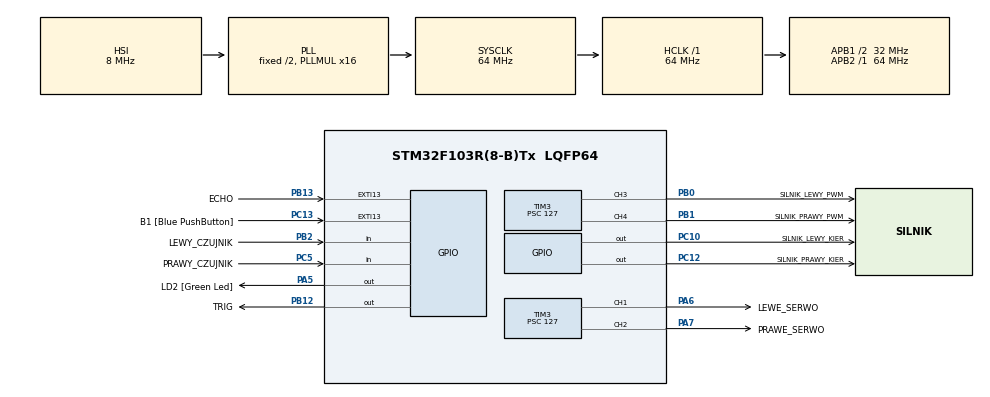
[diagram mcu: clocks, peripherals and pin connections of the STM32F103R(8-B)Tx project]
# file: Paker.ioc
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Mcu.Family=STM32F1
Mcu.Name=STM32F103R(8-B)Tx
Mcu.Package=LQFP64
NVIC.EXTI15_10_IRQn=true\:0\:0\:false\:false\:true
NVIC.PriorityGroup=NVIC_PRIORITYGROUP_4
NVIC.TIM4_IRQn=true\:0\:0\:false\:false\:true
PA13.GPIO_Label=TMS
PA13.Mode=Serial_Wire
PA13.Signal=SYS_JTMS-SWDIO
PA14.GPIO_Label=TCK
PA14.Mode=Serial_Wire
PA14.Signal=SYS_JTCK-SWCLK
PA2.GPIO_Label=USART_TX
PA2.GPIO_Mode=GPIO_MODE_AF_PP
PA2.GPIO_PuPd=GPIO_NOPULL
PA2.GPIO_Speed=GPIO_SPEED_FREQ_LOW
PA2.Signal=USART2_TX
PA3.GPIO_Label=USART_RX
PA3.GPIO_Mode=GPIO_MODE_AF_PP
PA3.GPIO_PuPd=GPIO_NOPULL
PA3.GPIO_Speed=GPIO_SPEED_FREQ_LOW
PA3.Signal=USART2_RX
PA5.GPIO_Label=LD2 [Green Led]
PA5.GPIO_ModeDefaultOutputPP=GPIO_MODE_OUTPUT_PP
PA5.GPIO_PuPd=GPIO_NOPULL
PA5.GPIO_Speed=GPIO_SPEED_FREQ_LOW
PA5.Signal=GPIO_Output
PB0.GPIO_Label=SILNIK_LEWY_PWM
PB0.Signal=S_TIM3_CH3
PB1.GPIO_Label=SILNIK_PRAWY_PWM
PB1.Signal=S_TIM3_CH4
PB12.GPIO_Label=TRIG
PB12.Signal=GPIO_Output
PB13.GPIO_Label=ECHO
PB13.GPIO_ModeDefaultEXTI=GPIO_MODE_IT_RISING_FALLING
PB13.Signal=GPXTI13
PB2.GPIO_Label=LEWY_CZUJNIK
PB2.GPIO_PuPd=GPIO_PULLDOWN
PB2.Signal=GPIO_Input
PA6.GPIO_Label=LEWE_SERWO
PA6.Signal=S_TIM3_CH1
PA7.GPIO_Label=PRAWE_SERWO
PA7.Signal=S_TIM3_CH2
PB3.GPIO_Label=SWO
PB3.Signal=SYS_JTDO-TRACESWO
PC10.GPIO_Label=SILNIK_LEWY_KIER
PC10.PinState=GPIO_PIN_SET
PC10.Signal=GPIO_Output
PC12.GPIO_Label=SILNIK_PRAWY_KIER
PC12.PinState=GPIO_PIN_SET
PC12.Signal=GPIO_Output
PC13-TAMPER-RTC.GPIO_Label=B1 [Blue PushButton]
PC13-TAMPER-RTC.GPIO_ModeDefaultEXTI=GPIO_MODE_IT_RISING
PC13-TAMPER-RTC.GPIO_PuPd=GPIO_NOPULL
PC13-TAMPER-RTC.Signal=GPXTI13
PC14-OSC32_IN.Signal=RCC_OSC32_IN
PC15-OSC32_OUT.Signal=RCC_OSC32_OUT
PC5.GPIO_Label=PRAWY_CZUJNIK
PC5.GPIO_PuPd=GPIO_PULLDOWN
PC5.Signal=GPIO_Input
PD0-OSC_IN.Signal=RCC_OSC_IN
PD1-OSC_OUT.Signal=RCC_OSC_OUT
ProjectManager.HeapSize=0x200
ProjectManager.StackSize=0x400
ProjectManager.TargetToolchain=SW4STM32
RCC.AHBFreq_Value=64000000
RCC.APB1CLKDivider=RCC_HCLK_DIV2
RCC.APB1Freq_Value=32000000
RCC.APB1TimFreq_Value=64000000
RCC.APB2Freq_Value=64000000
RCC.APB2TimFreq_Value=64000000
RCC.HCLKFreq_Value=64000000
RCC.PLLMUL=RCC_PLL_MUL16
RCC.SYSCLKFreq_VALUE=64000000
RCC.SYSCLKSource=RCC_SYSCLKSOURCE_PLLCLK
RCC.USBFreq_Value=64000000
SH.S_TIM3_CH3.0=TIM3_CH3,PWM Generation3 CH3
SH.S_TIM3_CH4.0=TIM3_CH4,PWM Generation4 CH4
TIM3.Channel-PWM\ Generation3\ CH3=TIM_CHANNEL_3
TIM3.Channel-PWM\ Generation4\ CH4=TIM_CHANNEL_4
TIM3.Period=9999
TIM3.Prescaler=127
TIM4.Period=0xFFFF
SH.S_TIM3_CH1.0=TIM3_CH1,PWM Generation1 CH1
SH.S_TIM3_CH2.0=TIM3_CH2,PWM Generation2 CH2
TIM3.Channel-PWM\ Generation2\ CH2=TIM_CHANNEL_2
TIM3.Period=9999
TIM3.Prescaler=127
TIM3.Pulse-PWM\ Generation1\ CH1=450
TIM3.Pulse-PWM\ Generation2\ CH2=450
VP_TIM4_VS_ClockSourceINT.Mode=Internal
VP_TIM3_VS_ClockSourceINT.Mode=Internal
board=NUCLEO-F103RB

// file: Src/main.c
/**
  ******************************************************************************
  * File Name          : main.c
  * Description        : Main program body
  ******************************************************************************
  *
  * COPYRIGHT(c) 2017 STMicroelectronics
  *
  * Redistribution and use in source and binary forms, with or without modification,
  * are permitted provided that the following conditions are met:
  *   1. Redistributions of source code must retain the above copyright notice,
  *      this list of conditions and the following disclaimer.
  *   2. Redistributions in binary form must reproduce the above copyright notice,
  *      this list of conditions and the following disclaimer in the documentation
  *      and/or other materials provided with the distribution.
  *   3. Neither the name of STMicroelectronics nor the names of its contributors
  *      may be used to endorse or promote products derived from this software
  *      without specific prior written permission.
  *
  * THIS SOFTWARE IS PROVIDED BY THE COPYRIGHT HOLDERS AND CONTRIBUTORS "AS IS"
  * AND ANY EXPRESS OR IMPLIED WARRANTIES, INCLUDING, BUT NOT LIMITED TO, THE
  * IMPLIED WARRANTIES OF MERCHANTABILITY AND FITNESS FOR A PARTICULAR PURPOSE ARE
  * DISCLAIMED. IN NO EVENT SHALL THE COPYRIGHT HOLDER OR CONTRIBUTORS BE LIABLE
  * FOR ANY DIRECT, INDIRECT, INCIDENTAL, SPECIAL, EXEMPLARY, OR CONSEQUENTIAL
  * DAMAGES (INCLUDING, BUT NOT LIMITED TO, PROCUREMENT OF SUBSTITUTE GOODS OR
  * SERVICES; LOSS OF USE, DATA, OR PROFITS; OR BUSINESS INTERRUPTION) HOWEVER
  * CAUSED AND ON ANY THEORY OF LIABILITY, WHETHER IN CONTRACT, STRICT LIABILITY,
  * OR TORT (INCLUDING NEGLIGENCE OR OTHERWISE) ARISING IN ANY WAY OUT OF THE USE
  * OF THIS SOFTWARE, EVEN IF ADVISED OF THE POSSIBILITY OF SUCH DAMAGE.
  *
  ******************************************************************************
  */
#include "main.h"
#include "stm32f1xx_hal.h"

/* USER CODE BEGIN Includes */
#include "Silnik.h"
#include "Robot.h"

#include "Analogowy_Czujnik_Odleglosci.h"
#include "Cyfrowy_Czujnik_Odleglosci.h"
#include "Serwo.h"

/* USER CODE END Includes */

TIM_HandleTypeDef htim4;
TIM_HandleTypeDef htim3;

/* USER CODE BEGIN PV */
/* Private variables ---------------------------------------------------------*/
Silnik silnik_lewy, silnik_prawy;

Robot minisumo;

/* USER CODE END PV */

void SystemClock_Config(void);
void Error_Handler(void);
static void MX_GPIO_Init(void);
static void MX_TIM4_Init(void);
static void MX_TIM3_Init(void);
void HAL_TIM_MspPostInit(TIM_HandleTypeDef *htim);

/* USER CODE BEGIN PFP */
/* Private function prototypes -----------------------------------------------*/
void uruchomienie_PWM_silnikow(void);
void aktualizacja_silnika_lewego(void);
void aktualizacja_silnika_prawego(void);

void HAL_SYSTICK_Callback(void); //obsluga przerwania timera systick
void HAL_TIM_PeriodElapsedCallback(TIM_HandleTypeDef *htim); //obsluga przerwania timera htim
void HAL_GPIO_EXTI_Callback(uint16_t GPIO_Pin);//obsluga przerwan przychodzacych z zewnatrz do pinow

void pierwsza_faza_pomiaru_Analogowy_Czujnik_Odleglosci(void);
void druga_faza_pomiaru_Analogowy_Czujnik_Odleglosci(void);
void trzecia_faza_pomiaru_Analogowy_Czujnik_Odleglosci(void);
void zapis_wyniku_pomiaru_Analogowy_Czujnik_Odleglosci(void);

void pomiar_odleglosci_cyfrowy(void);

void aktualizacja_polozenia_serwomechanizmow(void);

void inicjalizacja_urzadzen_obslugiwanych(void);
void uruchom_PWM_serwomechanizmow(void);

/* USER CODE END PFP */

/* USER CODE BEGIN 0 */
//extern typedef enum{nie, tak} Bool;
/* USER CODE END 0 */

int main(void)
{

  /* MCU Configuration----------------------------------------------------------*/

  /* Reset of all peripherals, Initializes the Flash interface and the Systick. */
  HAL_Init();

  /* Configure the system clock */
  SystemClock_Config();

  /* Initialize all configured peripherals */
  MX_GPIO_Init();
  MX_TIM4_Init();
  MX_TIM3_Init();

  /* USER CODE BEGIN 2 */
  inicjalizacja_urzadzen_obslugiwanych();

  //kod testowy
  int wartosc_kata = 0;

  /**
   * inicjalizacja silników
   */
/*  Silnik_init(&silnik_lewy);
  Silnik_init(&silnik_prawy);
  uruchomienie_PWM_silnikow();
*/

  /* USER CODE END 2 */

  /* Infinite loop */
  while (1)
  {

  /* USER CODE BEGIN 3 */
	  Silnik_setKierunek(&silnik_lewy, PRZOD);
	  Silnik_setKierunek(&silnik_prawy, PRZOD);
	  Silnik_setMoc(&silnik_lewy, MAX_CCR_SILNIK>>2);
	  Silnik_setMoc(&silnik_prawy, MAX_CCR_SILNIK>>2);
	  HAL_Delay(2000);
	  Silnik_setMoc(&silnik_lewy, 0);
	  Silnik_setMoc(&silnik_prawy, 0);
	  HAL_Delay(500);

	  Silnik_setKierunek(&silnik_lewy, TYL);
	  Silnik_setKierunek(&silnik_prawy, TYL);
	  Silnik_setMoc(&silnik_lewy, MAX_CCR_SILNIK>>2);
	  Silnik_setMoc(&silnik_prawy, MAX_CCR_SILNIK>>2);
	  HAL_Delay(2000);
	  Silnik_setMoc(&silnik_lewy, 0);
	  Silnik_setMoc(&silnik_prawy, 0);
	  HAL_Delay(500);

	  /*		//do przodu i ca³a moc
	  	Silnik_setKierunek(&silnik_lewy, PRZOD);
	  	Silnik_setKierunek(&silnik_prawy, PRZOD);
	    Silnik_setMoc(&silnik_lewy, MAX_CCR_SILNIK);
		Silnik_setMoc(&silnik_prawy, MAX_CCR_SILNIK);
		HAL_Delay(1000);

		//do przodu mocy
		Silnik_setMoc(&silnik_lewy, MAX_CCR_SILNIK>>1 );
		Silnik_setMoc(&silnik_prawy, MAX_CCR_SILNIK>>1 );
		HAL_Delay(1000);

		//do ty³u i po³owa mocy
	  	Silnik_setKierunek(&silnik_lewy, TYL);
	  	Silnik_setKierunek(&silnik_prawy, TYL);
	  	HAL_Delay(1000);

	  	//do ty³u i ca³a moc
	    Silnik_setMoc(&silnik_lewy, MAX_CCR_SILNIK);
		Silnik_setMoc(&silnik_prawy, MAX_CCR_SILNIK);
		HAL_Delay(1000);

	  Silnik_setKierunek(&silnik_lewy, TYL);
	  Silnik_setKierunek(&silnik_prawy, TYL);

	  int i;
	  for(i=0;i<MAX_CCR_SILNIK; i+=100)
	  {
		  Silnik_setMoc(&silnik_lewy, i);
		  Silnik_setMoc(&silnik_prawy, i);
		  HAL_Delay(50);
	  }
	  Silnik_setKierunek(&silnik_lewy, PRZOD);
	  Silnik_setKierunek(&silnik_prawy, PRZOD);

	  for(i=MAX_CCR_SILNIK; i>=200; i-=100)
	  {
	  		  Silnik_setMoc(&silnik_lewy, i);
	  		  Silnik_setMoc(&silnik_prawy, i);
	  		  HAL_Delay(50);
	  }
	  //kod testowy
	 wartosc_kata = 180;
	 Serwo_ustaw_nowy_kat(&(minisumo.serwo_lewe_), wartosc_kata);
	 Serwo_ustaw_nowy_kat(&(minisumo.serwo_prawe_), wartosc_kata);
	 HAL_Delay(1500);
	 wartosc_kata = 0;
	 Serwo_ustaw_nowy_kat(&(minisumo.serwo_lewe_), wartosc_kata);
	 Serwo_ustaw_nowy_kat(&(minisumo.serwo_prawe_), wartosc_kata);
	 HAL_Delay(1500);

	  HAL_GPIO_WritePin(LD2_GPIO_Port, LD2_Pin, GPIO_PIN_SET);
	  HAL_Delay(5000);
	  HAL_GPIO_WritePin(LD2_GPIO_Port, LD2_Pin, GPIO_PIN_RESET);
	  HAL_Delay(5000);
*/	  //koniec kodu testowego
  }
  /* USER CODE END 3 */

}

/** System Clock Configuration
*/
void SystemClock_Config(void)
{

  RCC_OscInitTypeDef RCC_OscInitStruct;
  RCC_ClkInitTypeDef RCC_ClkInitStruct;

    /**Initializes the CPU, AHB and APB busses clocks
    */
  RCC_OscInitStruct.OscillatorType = RCC_OSCILLATORTYPE_HSI;
  RCC_OscInitStruct.HSIState = RCC_HSI_ON;
  RCC_OscInitStruct.HSICalibrationValue = 16;
  RCC_OscInitStruct.PLL.PLLState = RCC_PLL_ON;
  RCC_OscInitStruct.PLL.PLLSource = RCC_PLLSOURCE_HSI_DIV2;
  RCC_OscInitStruct.PLL.PLLMUL = RCC_PLL_MUL16;
  if (HAL_RCC_OscConfig(&RCC_OscInitStruct) != HAL_OK)
  {
    Error_Handler();
  }

    /**Initializes the CPU, AHB and APB busses clocks
    */
  RCC_ClkInitStruct.ClockType = RCC_CLOCKTYPE_HCLK|RCC_CLOCKTYPE_SYSCLK
                              |RCC_CLOCKTYPE_PCLK1|RCC_CLOCKTYPE_PCLK2;
  RCC_ClkInitStruct.SYSCLKSource = RCC_SYSCLKSOURCE_PLLCLK;
  RCC_ClkInitStruct.AHBCLKDivider = RCC_SYSCLK_DIV1;
  RCC_ClkInitStruct.APB1CLKDivider = RCC_HCLK_DIV2;
  RCC_ClkInitStruct.APB2CLKDivider = RCC_HCLK_DIV1;

  if (HAL_RCC_ClockConfig(&RCC_ClkInitStruct, FLASH_LATENCY_2) != HAL_OK)
  {
    Error_Handler();
  }

    /**Configure the Systick interrupt time
    */
  HAL_SYSTICK_Config(HAL_RCC_GetHCLKFreq()/1000);

    /**Configure the Systick
    */
  HAL_SYSTICK_CLKSourceConfig(SYSTICK_CLKSOURCE_HCLK);

  /* SysTick_IRQn interrupt configuration */
  HAL_NVIC_SetPriority(SysTick_IRQn, 0, 0);
}
/* TIM4 init function */
static void MX_TIM4_Init(void)
{

  TIM_ClockConfigTypeDef sClockSourceConfig;
  TIM_MasterConfigTypeDef sMasterConfig;

  htim4.Instance = TIM4;
  htim4.Init.Prescaler = 0;
  htim4.Init.CounterMode = TIM_COUNTERMODE_UP;
  htim4.Init.Period = 0xFFFF;
  htim4.Init.ClockDivision = TIM_CLOCKDIVISION_DIV1;
  if (HAL_TIM_Base_Init(&htim4) != HAL_OK)
  {
    Error_Handler();
  }

  sClockSourceConfig.ClockSource = TIM_CLOCKSOURCE_INTERNAL;
  if (HAL_TIM_ConfigClockSource(&htim4, &sClockSourceConfig) != HAL_OK)
  {
    Error_Handler();
  }

  sMasterConfig.MasterOutputTrigger = TIM_TRGO_RESET;
  sMasterConfig.MasterSlaveMode = TIM_MASTERSLAVEMODE_DISABLE;
  if (HAL_TIMEx_MasterConfigSynchronization(&htim4, &sMasterConfig) != HAL_OK)
  {
    Error_Handler();
  }

}
/* TIM3 init function */
/*static void MX_TIM3_Init(void)
{

  TIM_MasterConfigTypeDef sMasterConfig;
  TIM_OC_InitTypeDef sConfigOC;

  htim3.Instance = TIM3;
  htim3.Init.Prescaler = 127;
  htim3.Init.CounterMode = TIM_COUNTERMODE_UP;
  htim3.Init.Period = 9999;
  htim3.Init.ClockDivision = TIM_CLOCKDIVISION_DIV1;
  if (HAL_TIM_PWM_Init(&htim3) != HAL_OK)
  {
    Error_Handler();
  }
*/
/*  sMasterConfig.MasterOutputTrigger = TIM_TRGO_RESET;
  sMasterConfig.MasterSlaveMode = TIM_MASTERSLAVEMODE_DISABLE;
  if (HAL_TIMEx_MasterConfigSynchronization(&htim3, &sMasterConfig) != HAL_OK)
  {
    Error_Handler();
  }

  sConfigOC.OCMode = TIM_OCMODE_PWM1;
  sConfigOC.Pulse = 0;
  sConfigOC.OCPolarity = TIM_OCPOLARITY_HIGH;
  sConfigOC.OCFastMode = TIM_OCFAST_DISABLE;
  if (HAL_TIM_PWM_ConfigChannel(&htim3, &sConfigOC, TIM_CHANNEL_3) != HAL_OK)
  {
    Error_Handler();
  }

  if (HAL_TIM_PWM_ConfigChannel(&htim3, &sConfigOC, TIM_CHANNEL_4) != HAL_OK)
*/

/* TIM3 init function */
static void MX_TIM3_Init(void)
{

  TIM_ClockConfigTypeDef sClockSourceConfig;
  TIM_MasterConfigTypeDef sMasterConfig;
  TIM_OC_InitTypeDef sConfigOC;

  htim3.Instance = TIM3;
  htim3.Init.Prescaler = 127;
  htim3.Init.CounterMode = TIM_COUNTERMODE_UP;
  htim3.Init.Period = 9999;
  htim3.Init.ClockDivision = TIM_CLOCKDIVISION_DIV1;
  if (HAL_TIM_Base_Init(&htim3) != HAL_OK)
  {
    Error_Handler();
  }

  sClockSourceConfig.ClockSource = TIM_CLOCKSOURCE_INTERNAL;
  if (HAL_TIM_ConfigClockSource(&htim3, &sClockSourceConfig) != HAL_OK)
  {
    Error_Handler();
  }

  if (HAL_TIM_PWM_Init(&htim3) != HAL_OK)
  {
    Error_Handler();
  }

  sMasterConfig.MasterOutputTrigger = TIM_TRGO_RESET;
  sMasterConfig.MasterSlaveMode = TIM_MASTERSLAVEMODE_DISABLE;
  if (HAL_TIMEx_MasterConfigSynchronization(&htim3, &sMasterConfig) != HAL_OK)
  {
    Error_Handler();
  }

  sConfigOC.OCMode = TIM_OCMODE_PWM1;
  sConfigOC.Pulse = 450;
  sConfigOC.OCPolarity = TIM_OCPOLARITY_HIGH;
  sConfigOC.OCFastMode = TIM_OCFAST_DISABLE;
  if (HAL_TIM_PWM_ConfigChannel(&htim3, &sConfigOC, TIM_CHANNEL_1) != HAL_OK)
  {
    Error_Handler();
  }

  if (HAL_TIM_PWM_ConfigChannel(&htim3, &sConfigOC, TIM_CHANNEL_2) != HAL_OK)
  {
    Error_Handler();
  }

    sConfigOC.OCMode = TIM_OCMODE_PWM1;
    sConfigOC.Pulse = 0;
    sConfigOC.OCPolarity = TIM_OCPOLARITY_HIGH;
    sConfigOC.OCFastMode = TIM_OCFAST_DISABLE;
    if (HAL_TIM_PWM_ConfigChannel(&htim3, &sConfigOC, TIM_CHANNEL_3) != HAL_OK)
    {
      Error_Handler();
    }

    if (HAL_TIM_PWM_ConfigChannel(&htim3, &sConfigOC, TIM_CHANNEL_4) != HAL_OK)
    {
       Error_Handler();
    }

  HAL_TIM_MspPostInit(&htim3);

}

/** Configure pins as
        * Analog
        * Input
        * Output
        * EVENT_OUT
        * EXTI
     PA2   ------> USART2_TX
     PA3   ------> USART2_RX
*/
static void MX_GPIO_Init(void)
{

  GPIO_InitTypeDef GPIO_InitStruct;

  /* GPIO Ports Clock Enable */
  __HAL_RCC_GPIOC_CLK_ENABLE();
  __HAL_RCC_GPIOD_CLK_ENABLE();
  __HAL_RCC_GPIOA_CLK_ENABLE();
  __HAL_RCC_GPIOB_CLK_ENABLE();

  /*Configure GPIO pin : B1_Pin */
  GPIO_InitStruct.Pin = B1_Pin;
  GPIO_InitStruct.Mode = GPIO_MODE_IT_RISING;
  GPIO_InitStruct.Pull = GPIO_NOPULL;
  HAL_GPIO_Init(B1_GPIO_Port, &GPIO_InitStruct);

  /*Configure GPIO pins : USART_TX_Pin USART_RX_Pin */
  GPIO_InitStruct.Pin = USART_TX_Pin|USART_RX_Pin;
  GPIO_InitStruct.Mode = GPIO_MODE_AF_PP;
  GPIO_InitStruct.Speed = GPIO_SPEED_FREQ_LOW;
  HAL_GPIO_Init(GPIOA, &GPIO_InitStruct);

  /*Configure GPIO pin : LD2_Pin */
  GPIO_InitStruct.Pin = LD2_Pin;
  GPIO_InitStruct.Mode = GPIO_MODE_OUTPUT_PP;
  GPIO_InitStruct.Speed = GPIO_SPEED_FREQ_LOW;
  HAL_GPIO_Init(LD2_GPIO_Port, &GPIO_InitStruct);

  /*Configure GPIO pins : SILNIK_LEWY_KIER_Pin SILNIK_PRAWY_KIER_Pin */
  GPIO_InitStruct.Pin = SILNIK_LEWY_KIER_Pin|SILNIK_PRAWY_KIER_Pin;
  GPIO_InitStruct.Mode = GPIO_MODE_OUTPUT_PP;
  GPIO_InitStruct.Speed = GPIO_SPEED_FREQ_LOW;
  HAL_GPIO_Init(GPIOC, &GPIO_InitStruct);

  /*Configure GPIO pin : TRIG_Pin */
  GPIO_InitStruct.Pin = TRIG_Pin;
  GPIO_InitStruct.Mode = GPIO_MODE_OUTPUT_PP;
  GPIO_InitStruct.Speed = GPIO_SPEED_FREQ_LOW;
  HAL_GPIO_Init(TRIG_GPIO_Port, &GPIO_InitStruct);

  /*Configure GPIO pin : ECHO_Pin */
  GPIO_InitStruct.Pin = ECHO_Pin;
  GPIO_InitStruct.Mode = GPIO_MODE_IT_RISING_FALLING;
  GPIO_InitStruct.Pull = GPIO_NOPULL;
  HAL_GPIO_Init(ECHO_GPIO_Port, &GPIO_InitStruct);
  /*Configure GPIO pin : PRAWY_CZUJNIK_Pin */
  GPIO_InitStruct.Pin = PRAWY_CZUJNIK_Pin;
  GPIO_InitStruct.Mode = GPIO_MODE_INPUT;
  GPIO_InitStruct.Pull = GPIO_PULLDOWN;
  HAL_GPIO_Init(PRAWY_CZUJNIK_GPIO_Port, &GPIO_InitStruct);

  /*Configure GPIO pin : LEWY_CZUJNIK_Pin */
  GPIO_InitStruct.Pin = LEWY_CZUJNIK_Pin;
  GPIO_InitStruct.Mode = GPIO_MODE_INPUT;
  GPIO_InitStruct.Pull = GPIO_PULLDOWN;
  HAL_GPIO_Init(LEWY_CZUJNIK_GPIO_Port, &GPIO_InitStruct);

  /*Configure GPIO pin Output Level */
  HAL_GPIO_WritePin(LD2_GPIO_Port, LD2_Pin, GPIO_PIN_RESET);

  /*Configure GPIO pin Output Level */
  HAL_GPIO_WritePin(GPIOC, SILNIK_LEWY_KIER_Pin|SILNIK_PRAWY_KIER_Pin, GPIO_PIN_SET);

  HAL_GPIO_WritePin(TRIG_GPIO_Port, TRIG_Pin, GPIO_PIN_RESET);

  /* EXTI interrupt init*/
  HAL_NVIC_SetPriority(EXTI15_10_IRQn, 0, 0);
  HAL_NVIC_EnableIRQ(EXTI15_10_IRQn);

}

/* USER CODE BEGIN 4 */
/*
void HAL_SYSTICK_Callback(void)
{
	static int iterator_silnika = 0;
	iterator_silnika++;
	if(iterator_silnika >= OKRES_AKTUALIZACJI_SILNIKA)
	{
		iterator_silnika = 0;
		aktualizacja_silnika_lewego();
		aktualizacja_silnika_prawego();
	}

}

void aktualizacja_silnika_lewego(void)
{
	uint16_t moc = Silnik_getMoc(&silnik_lewy);
	htim3.Instance->CCR3 = moc;

	Kierunek kier = Silnik_getKierunek(&silnik_lewy);
	if(kier == PRZOD)
	{
		HAL_GPIO_WritePin(SILNIK_LEWY_KIER_GPIO_Port, SILNIK_LEWY_KIER_Pin, GPIO_PIN_SET);
	}
	else
	{
		HAL_GPIO_WritePin(SILNIK_LEWY_KIER_GPIO_Port, SILNIK_LEWY_KIER_Pin, GPIO_PIN_RESET);
	}
}
void aktualizacja_silnika_prawego(void)
{
	uint16_t moc = Silnik_getMoc(&silnik_prawy);
	htim3.Instance->CCR4 = moc;

	Kierunek kier = Silnik_getKierunek(&silnik_prawy);
	if(kier == PRZOD)
	{
		HAL_GPIO_WritePin(SILNIK_PRAWY_KIER_GPIO_Port, SILNIK_PRAWY_KIER_Pin, GPIO_PIN_SET);
	}
	else
	{
		HAL_GPIO_WritePin(SILNIK_PRAWY_KIER_GPIO_Port, SILNIK_PRAWY_KIER_Pin, GPIO_PIN_RESET);
	}

}
void uruchomienie_PWM_silnikow(void)
{
	HAL_TIM_PWM_Start(&htim3, TIM_CHANNEL_3);
	HAL_TIM_PWM_Start(&htim3, TIM_CHANNEL_4);
}
*/
//definicje fcji
void HAL_SYSTICK_Callback(void)
{
	/**
	 * Aktualizacja silnika
	 */
	static int iterator_silnika = 0;
	iterator_silnika++;
	if(iterator_silnika >= OKRES_AKTUALIZACJI_SILNIKA)
	{
		iterator_silnika = 0;
		aktualizacja_silnika_lewego();
		aktualizacja_silnika_prawego();
	}
	/**
	 * Aktualizacja poriamu odleg³osci cyfrowego
	 */
	//moze zajsc koniecznosc mierzenia z mniejsza czestoscia, by nie blokowac dzialania STMa
	pomiar_odleglosci_cyfrowy();
	/**
	 * Aktualizacja pomiaru odleg³osci  analogowego
	 */
	static int iterator_pomiaru_odleglosci=0;
	if(iterator_pomiaru_odleglosci == OKRES_POMIARU_ODLEGLOSCI)
	{
		pierwsza_faza_pomiaru_Analogowy_Czujnik_Odleglosci();
		iterator_pomiaru_odleglosci = 0;
	}
	++iterator_pomiaru_odleglosci;

	/**
	 * Aktualizacja serwomechanizmu
	 */
	static int iterator_serwomechanizmu = 0;
	++iterator_serwomechanizmu;
	if(iterator_serwomechanizmu == OKRES_AKTUALIZACJI_SERWOMECHANIZMOW)
	{
		aktualizacja_polozenia_serwomechanizmow();
		iterator_serwomechanizmu = 0;
	}

}
void HAL_TIM_PeriodElapsedCallback(TIM_HandleTypeDef *htim)
{
	if(htim->Instance == TIM4)
	{
		druga_faza_pomiaru_Analogowy_Czujnik_Odleglosci();
		return;
	}
}
void HAL_GPIO_EXTI_Callback(uint16_t GPIO_Pin)
{
	if(GPIO_Pin == ECHO_Pin && HAL_GPIO_ReadPin(ECHO_GPIO_Port, ECHO_Pin) == GPIO_PIN_SET)
	{
		trzecia_faza_pomiaru_Analogowy_Czujnik_Odleglosci();
	}
	else if(GPIO_Pin == ECHO_Pin && HAL_GPIO_ReadPin(ECHO_GPIO_Port, ECHO_Pin) == GPIO_PIN_RESET)
	{
		zapis_wyniku_pomiaru_Analogowy_Czujnik_Odleglosci();
	}
}
void aktualizacja_silnika_lewego(void)
{
	uint16_t moc = Silnik_getMoc(&silnik_lewy);
	htim3.Instance->CCR3 = moc;

	Kierunek kier = Silnik_getKierunek(&silnik_lewy);
	if(kier == PRZOD)
	{
		HAL_GPIO_WritePin(SILNIK_LEWY_KIER_GPIO_Port, SILNIK_LEWY_KIER_Pin, GPIO_PIN_SET);
	}
	else
	{
		HAL_GPIO_WritePin(SILNIK_LEWY_KIER_GPIO_Port, SILNIK_LEWY_KIER_Pin, GPIO_PIN_RESET);
	}
}
void aktualizacja_silnika_prawego(void)
{
	uint16_t moc = Silnik_getMoc(&silnik_prawy);
	htim3.Instance->CCR4 = moc;

	Kierunek kier = Silnik_getKierunek(&silnik_prawy);
	if(kier == PRZOD)
	{
		HAL_GPIO_WritePin(SILNIK_PRAWY_KIER_GPIO_Port, SILNIK_PRAWY_KIER_Pin, GPIO_PIN_SET);
	}
	else
	{
		HAL_GPIO_WritePin(SILNIK_PRAWY_KIER_GPIO_Port, SILNIK_PRAWY_KIER_Pin, GPIO_PIN_RESET);
	}

}
void uruchomienie_PWM_silnikow(void)
{
	HAL_TIM_PWM_Start(&htim3, TIM_CHANNEL_3);
	HAL_TIM_PWM_Start(&htim3, TIM_CHANNEL_4);
}

void pierwsza_faza_pomiaru_Analogowy_Czujnik_Odleglosci(void)
{
	HAL_GPIO_WritePin(TRIG_GPIO_Port, TRIG_Pin, GPIO_PIN_SET);
	//TIM_Co->count
	htim4.Init.Period = 639;//wg wyliczen przy takim okresie i preskalerze timer odliczy 10us
	htim4.Init.Prescaler = 0;
	HAL_TIM_Base_Init(&htim4);
	HAL_TIM_Base_Start_IT(&htim4);
	minisumo.czujnik_analogowy_.faza_pomiaru = pierwsza;
}
void druga_faza_pomiaru_Analogowy_Czujnik_Odleglosci(void)
{
	HAL_GPIO_WritePin(TRIG_GPIO_Port, TRIG_Pin, GPIO_PIN_RESET);
	//tim_co->stop
	HAL_TIM_Base_Stop_IT(&htim4);
	minisumo.czujnik_analogowy_.faza_pomiaru = druga;
}
void trzecia_faza_pomiaru_Analogowy_Czujnik_Odleglosci(void)
{
	//tim_co->zliczanieDlugosciImpulsu
	htim4.Init.Period = 0xFFFF;
	htim4.Init.Prescaler = 50;//bylo 15 - licznik sie zerowal
	HAL_TIM_Base_Init(&htim4);
	HAL_TIM_Base_Start(&htim4);
	minisumo.czujnik_analogowy_.faza_pomiaru = trzecia;
}
void zapis_wyniku_pomiaru_Analogowy_Czujnik_Odleglosci(void)
{
	//faza pomiaru czujnika analogowego odleglosci - brak(zapis wyniku i wylaczenie timera)
	uint16_t pomiar = htim4.Instance->CNT;
	minisumo.czujnik_analogowy_.odleglosc = Analogowy_Czujnik_Odleglosci_oblicz_odleglosc(pomiar, htim4.Init.Prescaler, htim4.Init.Period );//odleglosc w milimetrach
	HAL_TIM_Base_Stop(&htim4);
	minisumo.czujnik_analogowy_.faza_pomiaru = brak;
}

void pomiar_odleglosci_cyfrowy(void)
{
	minisumo.czujnik_cyfrowy_lewy_.czy_jest_cos_widoczne = nie;
	minisumo.czujnik_cyfrowy_prawy_.czy_jest_cos_widoczne = nie;

	if(HAL_GPIO_ReadPin(LEWY_CZUJNIK_GPIO_Port, LEWY_CZUJNIK_Pin)== GPIO_PIN_RESET)//zdaje sie, ze czujniki jesli cos widza to daja stan niski, w przeciwnym razie - wysoki
		minisumo.czujnik_cyfrowy_lewy_.czy_jest_cos_widoczne = tak;
	if(HAL_GPIO_ReadPin(PRAWY_CZUJNIK_GPIO_Port, PRAWY_CZUJNIK_Pin)== GPIO_PIN_RESET)
		minisumo.czujnik_cyfrowy_prawy_.czy_jest_cos_widoczne = tak;
}
void uruchom_PWM_serwomechanizmow(void)
{
	HAL_TIM_PWM_Start(&htim3, TIM_CHANNEL_1);
	HAL_TIM_PWM_Start(&htim3, TIM_CHANNEL_2);
}

void aktualizacja_polozenia_serwomechanizmow(void)//powinna byc wolana co najmniej co 20 ms(taki jest okres sygnaly sterujacego serwami)
{
	uint8_t kat_lewego = Serwo_wartosc_kata( &(minisumo.serwo_lewe_));
	uint16_t CCR_lewego = Serwo_oblicz_wartosc_CCR(kat_lewego);
	htim3.Instance->CCR1 = CCR_lewego;

	uint8_t kat_prawego = Serwo_wartosc_kata(&(minisumo.serwo_prawe_));
	uint16_t CCR_prawego = Serwo_oblicz_wartosc_CCR(kat_prawego);
	htim3.Instance->CCR2 = CCR_prawego;

}
void inicjalizacja_urzadzen_obslugiwanych(void)
{
	Robot_init(&minisumo);
	Silnik_init(&silnik_lewy);
	Silnik_init(&silnik_prawy);
	uruchom_PWM_serwomechanizmow();
	uruchomienie_PWM_silnikow();

}

/* USER CODE END 4 */

void Error_Handler(void)
{
  /* USER CODE BEGIN Error_Handler */
  /* User can add his own implementation to report the HAL error return state */
  while(1)
  {
	  HAL_GPIO_WritePin(LD2_GPIO_Port, LD2_Pin, GPIO_PIN_SET);
	  HAL_Delay(200);
	  HAL_GPIO_WritePin(LD2_GPIO_Port, LD2_Pin, GPIO_PIN_RESET);
	  HAL_Delay(200);

  }
  /* USER CODE END Error_Handler */
}

/************************ (C) COPYRIGHT STMicroelectronics *****END OF FILE****/
